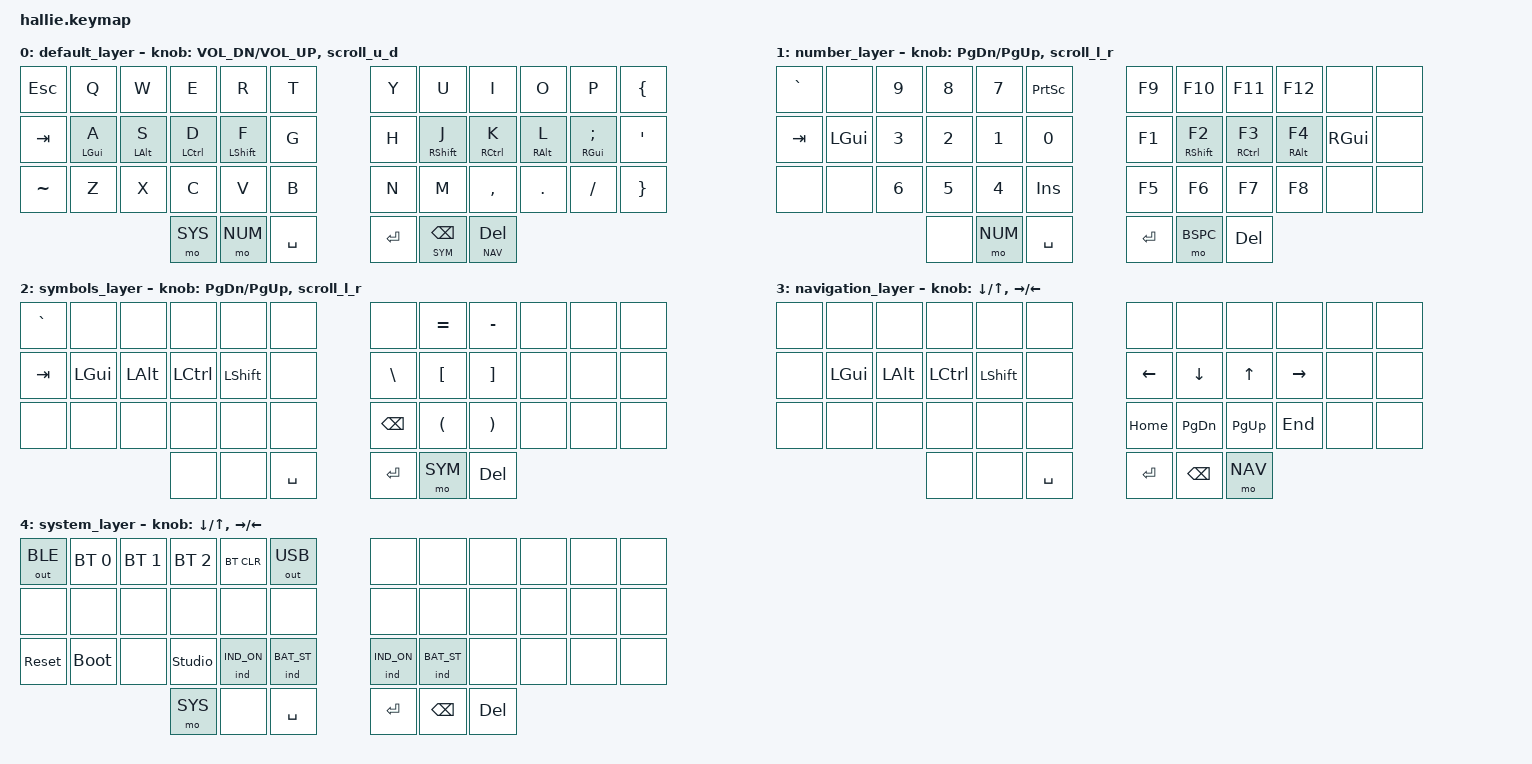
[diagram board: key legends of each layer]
#undef ZMK_BEHAVIORS_KEEP_ALL

#define ZMK_BEHAVIORS_KEEP_IND
#define ZMK_BEHAVIORS_KEEP_BT
#define ZMK_BEHAVIORS_KEEP_GRESC
#define ZMK_BEHAVIORS_KEEP_SYS_RESET
#define ZMK_BEHAVIORS_KEEP_BOOTLOADER
#define ZMK_BEHAVIORS_KEEP_CAPS_WORD
#define ZMK_BEHAVIORS_KEEP_KEY_REPEAT
#define ZMK_BEHAVIORS_KEEP_KT
#define ZMK_BEHAVIORS_KEEP_LT
#define ZMK_BEHAVIORS_KEEP_MT
#define ZMK_BEHAVIORS_KEEP_SK
#define ZMK_BEHAVIORS_KEEP_STICKY_LAYER
#define ZMK_BEHAVIORS_KEEP_TO
#define ZMK_BEHAVIORS_KEEP_TOG
#define ZMK_BEHAVIORS_KEEP_TRANS

#include <dt-bindings/zmk/indicators.h>
#include <behaviors.dtsi>
#include <dt-bindings/zmk/bt.h>
#include <dt-bindings/zmk/keys.h>
#include <dt-bindings/zmk/outputs.h>

#define DEF 0
#define NUM 1
#define SYM 2
#define NAV 3
#define SYS 4

&lt { quick_tap_ms = <300>; };

&mt { quick_tap_ms = <300>; };

/ {
    keymap {
        compatible = "zmk,keymap";

        default_layer {
            bindings = <
&kp ESC    &kp Q       &kp W       &kp E        &kp R         &kp T          &kp Y      &kp U         &kp I        &kp O       &kp P          &kp LEFT_BRACE
&kp TAB    &mt LGUI A  &mt LALT S  &mt LCTRL D  &mt LSHIFT F  &kp G          &kp H      &mt RSHIFT J  &mt RCTRL K  &mt RALT L  &mt RGUI SEMI  &kp SQT
&kp TILDE  &kp Z       &kp X       &kp C        &kp V         &kp B          &kp N      &kp M         &kp COMMA    &kp DOT     &kp SLASH      &kp RIGHT_BRACE
                                   &mo SYS      &mo NUM       &kp SPACE      &kp ENTER  &lt SYM BSPC  &lt NAV DEL
            >;
            sensor-bindings = <&inc_dec_kp C_VOL_DN C_VOL_UP &scroll_u_d>;
        };

        number_layer {
            bindings = <
&kp GRAVE  &none       &kp N9    &kp N8     &kp N7     &kp PSCRN      &kp F9     &kp F10        &kp F11       &kp F12      &none     &none
&kp TAB    &kp LGUI    &kp N3    &kp N2     &kp N1     &kp N0         &kp F1     &mt RSHIFT F2  &mt RCTRL F3  &mt RALT F4  &kp RGUI  &none
&none      &none       &kp N6    &kp N5     &kp N4     &kp INS        &kp F5     &kp F6         &kp F7        &kp F8       &none     &none
                                 &none      &mo NUM    &kp SPACE      &kp ENTER  &mo BSPC       &kp DEL
            >;
            sensor-bindings = <&inc_dec_kp PG_DN PG_UP &scroll_l_r>;
        };

        symbols_layer {
            bindings = <
&kp GRAVE  &none      &none      &none       &none        &none          &none      &kp EQUAL  &kp MINUS   &none   &none   &none
&kp TAB    &kp LGUI   &kp LALT   &kp LCTRL   &kp LSHIFT   &none          &kp BSLH   &kp LBKT   &kp RBKT    &none   &none   &none
&none      &none      &none      &none       &none        &none          &kp BSPC   &kp LPAR   &kp RPAR    &none   &none   &none
                                 &none       &none        &kp SPACE      &kp ENTER  &mo SYM    &kp DEL
            >;
            sensor-bindings = <&inc_dec_kp PG_DN PG_UP &scroll_l_r>;
        };

        navigation_layer {
            bindings = <
&none   &none      &none      &none       &none        &none          &none       &none       &none       &none       &none   &none
&none   &kp LGUI   &kp LALT   &kp LCTRL   &kp LSHIFT   &none          &kp LEFT    &kp DOWN    &kp UP      &kp RIGHT   &none   &none
&none   &none      &none      &none       &none        &none          &kp HOME    &kp PG_DN   &kp PG_UP   &kp END     &none   &none
                              &none       &none        &kp SPACE      &kp ENTER   &kp BSPC    &mo NAV
            >;
            sensor-bindings = <&inc_dec_kp DOWN_ARROW UP_ARROW &inc_dec_kp RIGHT_ARROW LEFT_ARROW>;
        };

        system_layer {
            bindings = <
&out OUT_BLE  &bt BT_SEL 0  &bt BT_SEL 1  &bt BT_SEL 2    &bt BT_CLR   &out OUT_USB      &none        &none        &none      &none  &none  &none
&none         &none         &none         &none           &none        &none             &none        &none        &none      &none  &none  &none
&sys_reset    &bootloader   &none         &studio_unlock  &ind IND_ON  &ind BAT_ST       &ind IND_ON  &ind BAT_ST  &none      &none  &none  &none
                                          &mo SYS         &none        &kp SPACE         &kp ENTER    &kp BSPC     &kp DELETE
            >;

            sensor-bindings = <&inc_dec_kp DOWN_ARROW UP_ARROW &inc_dec_kp RIGHT_ARROW LEFT_ARROW>;
        };

        extra1 { status = "reserved"; };
        extra2 { status = "reserved"; };
        extra3 { status = "reserved"; };
    };
};
